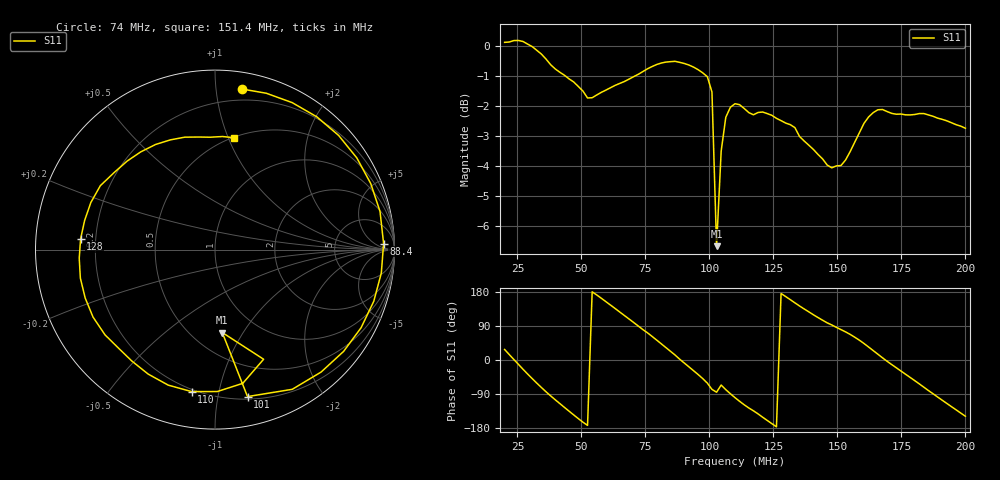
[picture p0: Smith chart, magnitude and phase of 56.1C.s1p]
# HZ S RI R 50
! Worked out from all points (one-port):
!   101 points, 20 MHz to 200 MHz, reference 50 ohm
!   lowest |S11| = -6.7 dB at 102.8 MHz (marker M1), VSWR 2.73, Z = 34.6 - j40.7 ohm
!   |S11| at or under -10 dB: nowhere
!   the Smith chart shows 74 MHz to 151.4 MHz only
!   S11 on the Smith chart (normalised r, x): 74 MHz: 0.12, +1.18; 88.4 MHz: 24, +14; 101 MHz: 0.22, -1.22; 110 MHz: 0.19, -0.83; 128 MHz: 0.14, +0.04; 151.4 MHz: 0.51, +1.05
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2e7  0.898 0.4732
2.54e7  1.002 -0.2052
3.26e7  0.4744 -0.8624
3.8e7  -0.0775 -0.9281
4.34e7  -0.5155 -0.7309
4.88e7  -0.7744 -0.3664
5.42e7  -0.8205 0.000538
5.96e7  -0.7582 0.3731
6.5e7  -0.5157 0.6968
7.4e7  0.1517 0.8944
8.12e7  0.6887 0.636
8.84e7  0.9394 0.0337
9.56e7  0.7165 -0.5672
1.01e8  0.1811 -0.819
1.028e8  0.0405 -0.462
1.046e8  0.2708 -0.6109
1.1e8  -0.1303 -0.7911
1.208e8  -0.6796 -0.3758
1.28e8  -0.7489 0.0592
1.334e8  -0.6388 0.3562
1.406e8  -0.3309 0.5857
1.514e8  0.1082 0.6229
1.55e8  0.2549 0.6166
1.604e8  0.5398 0.5116
1.676e8  0.7801 0.0802
1.784e8  0.5344 -0.5516
1.892e8  -0.1041 -0.7513
2e8  -0.6215 -0.3823
